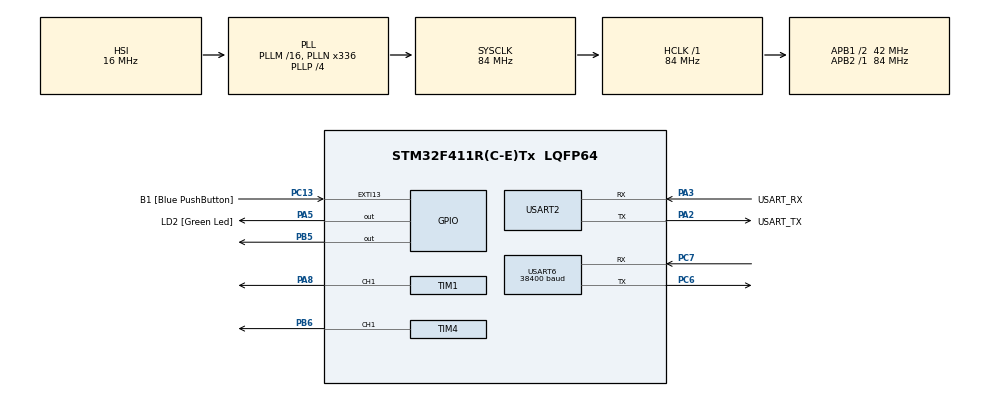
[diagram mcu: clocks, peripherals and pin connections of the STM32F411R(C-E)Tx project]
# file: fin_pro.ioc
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Mcu.Family=STM32F4
Mcu.Name=STM32F411R(C-E)Tx
Mcu.Package=LQFP64
NVIC.PriorityGroup=NVIC_PRIORITYGROUP_0
NVIC.TIM3_IRQn=true\:0\:0\:false\:false\:true\:true\:true\:true
NVIC.TIM4_IRQn=true\:0\:0\:false\:false\:true\:true\:true\:true
NVIC.USART6_IRQn=true\:0\:0\:false\:false\:true\:true\:true\:true
PA13.GPIO_Label=TMS
PA13.Mode=Serial_Wire
PA13.Signal=SYS_JTMS-SWDIO
PA14.GPIO_Label=TCK
PA14.Mode=Serial_Wire
PA14.Signal=SYS_JTCK-SWCLK
PA2.GPIO_Label=USART_TX
PA2.Mode=Asynchronous
PA2.Signal=USART2_TX
PA3.GPIO_Label=USART_RX
PA3.Mode=Asynchronous
PA3.Signal=USART2_RX
PA5.GPIO_Label=LD2 [Green Led]
PA5.Signal=GPIO_Output
PA8.Signal=S_TIM1_CH1
PB3.GPIO_Label=SWO
PB3.Signal=SYS_JTDO-SWO
PB5.Signal=GPIO_Output
PB6.Signal=S_TIM4_CH1
PC13-ANTI_TAMP.GPIO_Label=B1 [Blue PushButton]
PC13-ANTI_TAMP.GPIO_ModeDefaultEXTI=GPIO_MODE_IT_FALLING
PC13-ANTI_TAMP.Signal=GPXTI13
PC14-OSC32_IN.Mode=LSE-External-Oscillator
PC14-OSC32_IN.Signal=RCC_OSC32_IN
PC15-OSC32_OUT.Mode=LSE-External-Oscillator
PC15-OSC32_OUT.Signal=RCC_OSC32_OUT
PC6.Mode=Asynchronous
PC6.Signal=USART6_TX
PC7.Mode=Asynchronous
PC7.Signal=USART6_RX
PH0\ -\ OSC_IN.Mode=HSE-External-Clock-Source
PH0\ -\ OSC_IN.Signal=RCC_OSC_IN
PH1\ -\ OSC_OUT.Mode=HSE-External-Clock-Source
PH1\ -\ OSC_OUT.Signal=RCC_OSC_OUT
ProjectManager.HeapSize=0x200
ProjectManager.StackSize=0x400
ProjectManager.TargetToolchain=STM32CubeIDE
RCC.48MHZClocksFreq_Value=84000000
RCC.AHBFreq_Value=84000000
RCC.APB1CLKDivider=RCC_HCLK_DIV2
RCC.APB1Freq_Value=42000000
RCC.APB1TimFreq_Value=84000000
RCC.APB2Freq_Value=84000000
RCC.APB2TimFreq_Value=84000000
RCC.CortexFreq_Value=84000000
RCC.FLatency-AdvancedSettings=FLASH_LATENCY_2
RCC.HCLKFreq_Value=84000000
RCC.HSE_VALUE=8000000
RCC.HSI_VALUE=16000000
RCC.PLLN=336
RCC.PLLP=RCC_PLLP_DIV4
RCC.SYSCLKFreq_VALUE=84000000
RCC.SYSCLKSource=RCC_SYSCLKSOURCE_PLLCLK
RCC.VCOOutputFreq_Value=336000000
SH.S_TIM1_CH1.0=TIM1_CH1,PWM Generation1 CH1
SH.S_TIM4_CH1.0=TIM4_CH1,PWM Generation1 CH1
TIM1.Channel-PWM\ Generation1\ CH1=TIM_CHANNEL_1
TIM1.Period=20000
TIM1.Prescaler=83
TIM1.Pulse-PWM\ Generation1\ CH1=1500
TIM3.AutoReloadPreload=TIM_AUTORELOAD_PRELOAD_ENABLE
TIM3.Period=1000-1
TIM3.Prescaler=84-1
TIM4.AutoReloadPreload=TIM_AUTORELOAD_PRELOAD_ENABLE
TIM4.Channel-PWM\ Generation1\ CH1=TIM_CHANNEL_1
TIM4.Period=1999
TIM4.Prescaler=83
TIM4.Pulse-PWM\ Generation1\ CH1=500
USART2.VirtualMode=VM_ASYNC
USART6.BaudRate=38400
USART6.VirtualMode=VM_ASYNC
VP_TIM3_VS_ClockSourceINT.Mode=Internal
board=NUCLEO-F411RE

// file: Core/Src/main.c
/* USER CODE BEGIN Header */
/**
  ******************************************************************************
  * @file           : main.c
  * @brief          : Main program body
  ******************************************************************************
  * @attention
  *
  * Copyright (c) 2025 STMicroelectronics.
  * All rights reserved.
  *
  * This software is licensed under terms that can be found in the LICENSE file
  * in the root directory of this software component.
  * If no LICENSE file comes with this software, it is provided AS-IS.
  *
  ******************************************************************************
  */
/* USER CODE END Header */
#include "main.h"

/* USER CODE BEGIN Includes */
#include <stdio.h>
#include <string.h>
#include "esp.h"
/* USER CODE END Includes */

/* USER CODE BEGIN PD */
#ifdef __GNUC__
/* With GCC, small printf (option LD Linker->Libraries->Small printf
   set to 'Yes') calls __io_putchar() */
#define PUTCHAR_PROTOTYPE int __io_putchar(int ch)
#else
#define PUTCHAR_PROTOTYPE int fputc(int ch, FILE *f)
#endif /* __GNUC__ */
#define ARR_CNT 5
#define CMD_SIZE 50
/* USER CODE END PD */

TIM_HandleTypeDef htim1;
TIM_HandleTypeDef htim3;
TIM_HandleTypeDef htim4;

UART_HandleTypeDef huart2;
UART_HandleTypeDef huart6;

/* USER CODE BEGIN PV */
uint8_t rx2char;
extern cb_data_t cb_data;
extern volatile unsigned char rx2Flag;
extern volatile char rx2Data[50];
volatile int tim3Flag1Sec=1;
volatile unsigned int tim3Sec;
volatile int step_count = 0;
volatile int target_steps = 0;

/* USER CODE END PV */

void SystemClock_Config(void);
static void MX_GPIO_Init(void);
static void MX_USART2_UART_Init(void);
static void MX_TIM4_Init(void);
static void MX_USART6_UART_Init(void);
static void MX_TIM3_Init(void);
static void MX_TIM1_Init(void);
/* USER CODE BEGIN PFP */
char strBuff[MAX_ESP_COMMAND_LEN];
void MX_GPIO_LED_ON(int flag);
void MX_GPIO_LED_OFF(int flag);
void esp_event(char *);
void main_motor(int steps, int direction);
void set_servo_angle(uint8_t angle);
void door_motor(uint8_t from, uint8_t to, uint8_t step, uint16_t delay_ms);
void operate_elevator(void);
/* USER CODE END PFP */

int main(void)
{

  /* USER CODE BEGIN 1 */
	int ret = 0;
  /* USER CODE END 1 */

  /* MCU Configuration--------------------------------------------------------*/

  /* Reset of all peripherals, Initializes the Flash interface and the Systick. */
  HAL_Init();

  /* Configure the system clock */
  SystemClock_Config();

  /* Initialize all configured peripherals */
  MX_GPIO_Init();
  MX_USART2_UART_Init();
  MX_TIM4_Init();
  MX_USART6_UART_Init();
  MX_TIM3_Init();
  MX_TIM1_Init();
  HAL_TIM_PWM_Start(&htim1, TIM_CHANNEL_1);
  /* USER CODE BEGIN 2 */
  ret |= drv_uart_init();
  ret |= drv_esp_init();
  if(ret != 0)
  {
	  printf("Esp response error\r\n");
	  Error_Handler();
  }

  AiotClient_Init();
  if(HAL_TIM_Base_Start_IT(&htim3) != HAL_OK)
  {
	  Error_Handler();
  }
  /* USER CODE END 2 */

  /* Infinite loop */
  /* USER CODE BEGIN WHILE */
  while (1)
  {

	    if (strstr((char *)cb_data.buf, "ELEVATOR_START"))
		{
	    	printf("elevator start");
			memset(cb_data.buf,0x0,sizeof(cb_data.buf));
			cb_data.length = 0;
			operate_elevator();
	    }

		if(rx2Flag)
		{
			printf("recv2 : %s\r\n",rx2Data);
			rx2Flag =0;
		}

		if(tim3Flag1Sec)	//1초에 한번
		{
			tim3Flag1Sec = 0;
			if(!(tim3Sec%10)) //10초에 한번
			{
				if(esp_get_status() != 0)
				{
					printf("server connecting ...\r\n");
					esp_client_conn();
				}
			}
		}
    /* USER CODE END WHILE */

  }
}

void SystemClock_Config(void)
{
  RCC_OscInitTypeDef RCC_OscInitStruct = {0};
  RCC_ClkInitTypeDef RCC_ClkInitStruct = {0};

  /** Configure the main internal regulator output voltage
  */
  __HAL_RCC_PWR_CLK_ENABLE();
  __HAL_PWR_VOLTAGESCALING_CONFIG(PWR_REGULATOR_VOLTAGE_SCALE1);

  /** Initializes the RCC Oscillators according to the specified parameters
  * in the RCC_OscInitTypeDef structure.
  */
  RCC_OscInitStruct.OscillatorType = RCC_OSCILLATORTYPE_HSI;
  RCC_OscInitStruct.HSIState = RCC_HSI_ON;
  RCC_OscInitStruct.HSICalibrationValue = RCC_HSICALIBRATION_DEFAULT;
  RCC_OscInitStruct.PLL.PLLState = RCC_PLL_ON;
  RCC_OscInitStruct.PLL.PLLSource = RCC_PLLSOURCE_HSI;
  RCC_OscInitStruct.PLL.PLLM = 16;
  RCC_OscInitStruct.PLL.PLLN = 336;
  RCC_OscInitStruct.PLL.PLLP = RCC_PLLP_DIV4;
  RCC_OscInitStruct.PLL.PLLQ = 4;
  if (HAL_RCC_OscConfig(&RCC_OscInitStruct) != HAL_OK)
  {
    Error_Handler();
  }

  /** Initializes the CPU, AHB and APB buses clocks
  */
  RCC_ClkInitStruct.ClockType = RCC_CLOCKTYPE_HCLK|RCC_CLOCKTYPE_SYSCLK
                              |RCC_CLOCKTYPE_PCLK1|RCC_CLOCKTYPE_PCLK2;
  RCC_ClkInitStruct.SYSCLKSource = RCC_SYSCLKSOURCE_PLLCLK;
  RCC_ClkInitStruct.AHBCLKDivider = RCC_SYSCLK_DIV1;
  RCC_ClkInitStruct.APB1CLKDivider = RCC_HCLK_DIV2;
  RCC_ClkInitStruct.APB2CLKDivider = RCC_HCLK_DIV1;

  if (HAL_RCC_ClockConfig(&RCC_ClkInitStruct, FLASH_LATENCY_2) != HAL_OK)
  {
    Error_Handler();
  }
}

static void MX_TIM1_Init(void)
{

  TIM_MasterConfigTypeDef sMasterConfig = {0};
  TIM_OC_InitTypeDef sConfigOC = {0};
  TIM_BreakDeadTimeConfigTypeDef sBreakDeadTimeConfig = {0};

  htim1.Instance = TIM1;
  htim1.Init.Prescaler = 83;
  htim1.Init.CounterMode = TIM_COUNTERMODE_UP;
  htim1.Init.Period = 20000;
  htim1.Init.ClockDivision = TIM_CLOCKDIVISION_DIV1;
  htim1.Init.RepetitionCounter = 0;
  htim1.Init.AutoReloadPreload = TIM_AUTORELOAD_PRELOAD_DISABLE;
  if (HAL_TIM_PWM_Init(&htim1) != HAL_OK)
  {
    Error_Handler();
  }
  sMasterConfig.MasterOutputTrigger = TIM_TRGO_RESET;
  sMasterConfig.MasterSlaveMode = TIM_MASTERSLAVEMODE_DISABLE;
  if (HAL_TIMEx_MasterConfigSynchronization(&htim1, &sMasterConfig) != HAL_OK)
  {
    Error_Handler();
  }
  sConfigOC.OCMode = TIM_OCMODE_PWM1;
  sConfigOC.Pulse = 1500;
  sConfigOC.OCPolarity = TIM_OCPOLARITY_HIGH;
  sConfigOC.OCNPolarity = TIM_OCNPOLARITY_HIGH;
  sConfigOC.OCFastMode = TIM_OCFAST_DISABLE;
  sConfigOC.OCIdleState = TIM_OCIDLESTATE_RESET;
  sConfigOC.OCNIdleState = TIM_OCNIDLESTATE_RESET;
  if (HAL_TIM_PWM_ConfigChannel(&htim1, &sConfigOC, TIM_CHANNEL_1) != HAL_OK)
  {
    Error_Handler();
  }
  sBreakDeadTimeConfig.OffStateRunMode = TIM_OSSR_DISABLE;
  sBreakDeadTimeConfig.OffStateIDLEMode = TIM_OSSI_DISABLE;
  sBreakDeadTimeConfig.LockLevel = TIM_LOCKLEVEL_OFF;
  sBreakDeadTimeConfig.DeadTime = 0;
  sBreakDeadTimeConfig.BreakState = TIM_BREAK_DISABLE;
  sBreakDeadTimeConfig.BreakPolarity = TIM_BREAKPOLARITY_HIGH;
  sBreakDeadTimeConfig.AutomaticOutput = TIM_AUTOMATICOUTPUT_DISABLE;
  if (HAL_TIMEx_ConfigBreakDeadTime(&htim1, &sBreakDeadTimeConfig) != HAL_OK)
  {
    Error_Handler();
  }
  HAL_TIM_MspPostInit(&htim1);

}

static void MX_TIM3_Init(void)
{

  TIM_ClockConfigTypeDef sClockSourceConfig = {0};
  TIM_MasterConfigTypeDef sMasterConfig = {0};

  htim3.Instance = TIM3;
  htim3.Init.Prescaler = 84-1;
  htim3.Init.CounterMode = TIM_COUNTERMODE_UP;
  htim3.Init.Period = 1000-1;
  htim3.Init.ClockDivision = TIM_CLOCKDIVISION_DIV1;
  htim3.Init.AutoReloadPreload = TIM_AUTORELOAD_PRELOAD_ENABLE;
  if (HAL_TIM_Base_Init(&htim3) != HAL_OK)
  {
    Error_Handler();
  }
  sClockSourceConfig.ClockSource = TIM_CLOCKSOURCE_INTERNAL;
  if (HAL_TIM_ConfigClockSource(&htim3, &sClockSourceConfig) != HAL_OK)
  {
    Error_Handler();
  }
  sMasterConfig.MasterOutputTrigger = TIM_TRGO_RESET;
  sMasterConfig.MasterSlaveMode = TIM_MASTERSLAVEMODE_DISABLE;
  if (HAL_TIMEx_MasterConfigSynchronization(&htim3, &sMasterConfig) != HAL_OK)
  {
    Error_Handler();
  }

}

static void MX_TIM4_Init(void)
{

  TIM_MasterConfigTypeDef sMasterConfig = {0};
  TIM_OC_InitTypeDef sConfigOC = {0};

  htim4.Instance = TIM4;
  htim4.Init.Prescaler = 83;
  htim4.Init.CounterMode = TIM_COUNTERMODE_UP;
  htim4.Init.Period = 1999;
  htim4.Init.ClockDivision = TIM_CLOCKDIVISION_DIV1;
  htim4.Init.AutoReloadPreload = TIM_AUTORELOAD_PRELOAD_ENABLE;
  if (HAL_TIM_PWM_Init(&htim4) != HAL_OK)
  {
    Error_Handler();
  }
  sMasterConfig.MasterOutputTrigger = TIM_TRGO_RESET;
  sMasterConfig.MasterSlaveMode = TIM_MASTERSLAVEMODE_DISABLE;
  if (HAL_TIMEx_MasterConfigSynchronization(&htim4, &sMasterConfig) != HAL_OK)
  {
    Error_Handler();
  }
  sConfigOC.OCMode = TIM_OCMODE_PWM1;
  sConfigOC.Pulse = 500;
  sConfigOC.OCPolarity = TIM_OCPOLARITY_HIGH;
  sConfigOC.OCFastMode = TIM_OCFAST_DISABLE;
  if (HAL_TIM_PWM_ConfigChannel(&htim4, &sConfigOC, TIM_CHANNEL_1) != HAL_OK)
  {
    Error_Handler();
  }
  HAL_TIM_MspPostInit(&htim4);

}

static void MX_USART2_UART_Init(void)
{

  huart2.Instance = USART2;
  huart2.Init.BaudRate = 115200;
  huart2.Init.WordLength = UART_WORDLENGTH_8B;
  huart2.Init.StopBits = UART_STOPBITS_1;
  huart2.Init.Parity = UART_PARITY_NONE;
  huart2.Init.Mode = UART_MODE_TX_RX;
  huart2.Init.HwFlowCtl = UART_HWCONTROL_NONE;
  huart2.Init.OverSampling = UART_OVERSAMPLING_16;
  if (HAL_UART_Init(&huart2) != HAL_OK)
  {
    Error_Handler();
  }

}

static void MX_USART6_UART_Init(void)
{

  huart6.Instance = USART6;
  huart6.Init.BaudRate = 38400;
  huart6.Init.WordLength = UART_WORDLENGTH_8B;
  huart6.Init.StopBits = UART_STOPBITS_1;
  huart6.Init.Parity = UART_PARITY_NONE;
  huart6.Init.Mode = UART_MODE_TX_RX;
  huart6.Init.HwFlowCtl = UART_HWCONTROL_NONE;
  huart6.Init.OverSampling = UART_OVERSAMPLING_16;
  if (HAL_UART_Init(&huart6) != HAL_OK)
  {
    Error_Handler();
  }

}

static void MX_GPIO_Init(void)
{
  GPIO_InitTypeDef GPIO_InitStruct = {0};

  /* GPIO Ports Clock Enable */
  __HAL_RCC_GPIOC_CLK_ENABLE();
  __HAL_RCC_GPIOH_CLK_ENABLE();
  __HAL_RCC_GPIOA_CLK_ENABLE();
  __HAL_RCC_GPIOB_CLK_ENABLE();

  /*Configure GPIO pin Output Level */
  HAL_GPIO_WritePin(LD2_GPIO_Port, LD2_Pin, GPIO_PIN_RESET);

  /*Configure GPIO pin Output Level */
  HAL_GPIO_WritePin(GPIOB, GPIO_PIN_5, GPIO_PIN_RESET);

  /*Configure GPIO pin : B1_Pin */
  GPIO_InitStruct.Pin = B1_Pin;
  GPIO_InitStruct.Mode = GPIO_MODE_IT_FALLING;
  GPIO_InitStruct.Pull = GPIO_NOPULL;
  HAL_GPIO_Init(B1_GPIO_Port, &GPIO_InitStruct);

  /*Configure GPIO pin : LD2_Pin */
  GPIO_InitStruct.Pin = LD2_Pin;
  GPIO_InitStruct.Mode = GPIO_MODE_OUTPUT_PP;
  GPIO_InitStruct.Pull = GPIO_NOPULL;
  GPIO_InitStruct.Speed = GPIO_SPEED_FREQ_LOW;
  HAL_GPIO_Init(LD2_GPIO_Port, &GPIO_InitStruct);

  /*Configure GPIO pin : PB5 */
  GPIO_InitStruct.Pin = GPIO_PIN_5;
  GPIO_InitStruct.Mode = GPIO_MODE_OUTPUT_PP;
  GPIO_InitStruct.Pull = GPIO_NOPULL;
  GPIO_InitStruct.Speed = GPIO_SPEED_FREQ_LOW;
  HAL_GPIO_Init(GPIOB, &GPIO_InitStruct);

}

/* USER CODE BEGIN 4 */
void main_motor(int steps, int direction)
{
//  1바퀴 (200 스텝)
//	main_motor(400, GPIO_PIN_RESET); 역방향
	HAL_GPIO_WritePin(GPIOB, GPIO_PIN_5, direction);  // 방향 설정
	if (direction == GPIO_PIN_SET)
	    printf("정방향 설정\n");
	else
	    printf("역방향 설정\n");
	step_count = 0;
	target_steps = steps;

	__HAL_TIM_SET_COUNTER(&htim4, 0);  // 카운터 초기화
	HAL_TIM_PWM_Start_IT(&htim4, TIM_CHANNEL_1);  // 인터럽트 기반 PWM 시작
}
void HAL_TIM_PeriodElapsedCallback(TIM_HandleTypeDef *htim)		//1ms 마다 호출
{
	static int tim3Cnt = 0;
	tim3Cnt++;
	if(tim3Cnt >= 1000) //1ms * 1000 = 1Sec
	{
		tim3Flag1Sec = 1;
		tim3Sec++;
		tim3Cnt = 0;
	}
}
void HAL_TIM_PWM_PulseFinishedCallback(TIM_HandleTypeDef *htim)
{
    if (htim->Instance == TIM4 && htim->Channel == HAL_TIM_ACTIVE_CHANNEL_1)
    {
        step_count++;
        if (step_count >= target_steps)
        {
            HAL_TIM_PWM_Stop_IT(&htim4, TIM_CHANNEL_1);  // 목표 스텝 수 도달 시 PWM 정지
        }
    }
}
void set_servo_angle(uint8_t angle) {
    // angle: 0 ~ 180
    // 0.5ms = 500 → 0도 / 2.5ms = 2500 → 180도
	// set_servo_angle(0);  // 열기
	// set_servo_angle(90);  // 닫기
    uint16_t pulse = 500 + ((angle * 2000) / 180);
    __HAL_TIM_SET_COMPARE(&htim1, TIM_CHANNEL_1, pulse);
}
void door_motor(uint8_t from, uint8_t to, uint8_t step, uint16_t delay_ms) {
    if (from < to) {
        for (uint8_t angle = from; angle <= to; angle += step) {
            set_servo_angle(angle);
            HAL_Delay(delay_ms);
        }
    } else {
        for (int angle = from; angle >= (int)to; angle -= step) {
            set_servo_angle(angle);
            HAL_Delay(delay_ms);
        }
    }
}
void operate_elevator()
{
	//1. 문 닫기
	door_motor(0, 220, 1, 30);
	HAL_Delay(2000);

	//2. 2층이동
	main_motor(1300, GPIO_PIN_SET);
	while (step_count < target_steps);

	//도착 후 대기   2층 구현시 문열기, 닫기 추가
	HAL_Delay(3000);

	//3. 1층 이동
	main_motor(1300, GPIO_PIN_RESET);
	while (step_count < target_steps);

	//4. 문 열기
	door_motor(220, 0, 1 , 30);
	HAL_Delay(2000);

	//5. 서버에 도착 알림
	esp_send_data("ARRIVED_DOWNSTAIRS");
}
/* USER CODE END 4 */

void Error_Handler(void)
{
  __disable_irq();
  while (1)
  {
  }
}
